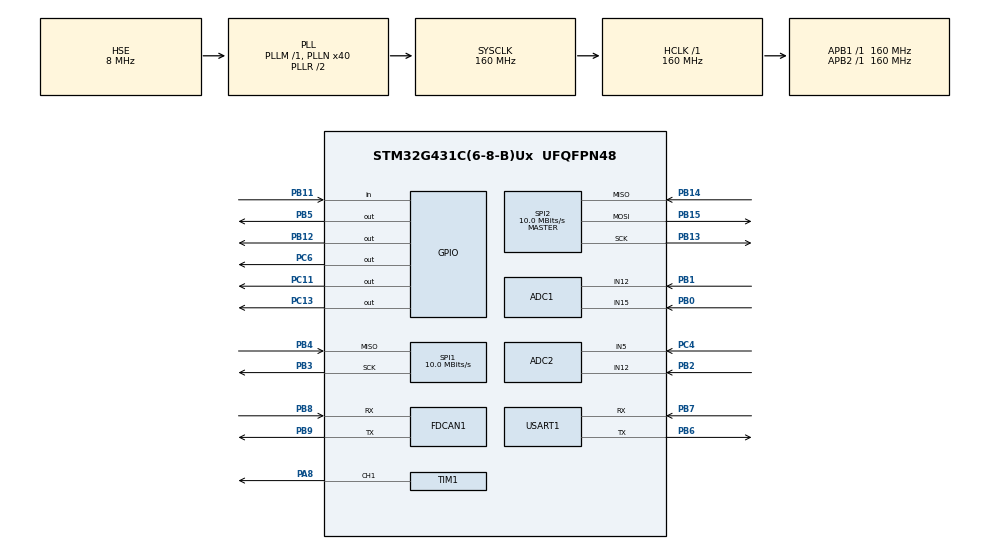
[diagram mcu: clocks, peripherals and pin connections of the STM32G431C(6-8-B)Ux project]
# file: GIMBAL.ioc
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ADC1.Channel-0\#ChannelRegularConversion=ADC_CHANNEL_12
ADC1.Mode=ADC_DUALMODE_REGSIMULT
ADC1.NbrOfConversionFlag=1
ADC1.OffsetNumber-0\#ChannelRegularConversion=ADC_OFFSET_NONE
ADC1.Rank-0\#ChannelRegularConversion=1
ADC1.SamplingTime-0\#ChannelRegularConversion=ADC_SAMPLETIME_3CYCLES_5
ADC1.master=1
ADC2.Channel-0\#ChannelRegularConversion=ADC_CHANNEL_12
ADC2.Mode=ADC_DUALMODE_REGSIMULT
ADC2.NbrOfConversionFlag=1
ADC2.OffsetNumber-0\#ChannelRegularConversion=ADC_OFFSET_NONE
ADC2.Rank-0\#ChannelRegularConversion=1
ADC2.SamplingTime-0\#ChannelRegularConversion=ADC_SAMPLETIME_3CYCLES_5
Mcu.Family=STM32G4
Mcu.Name=STM32G431C(6-8-B)Ux
Mcu.Package=UFQFPN48
NVIC.PriorityGroup=NVIC_PRIORITYGROUP_4
NVIC.TIM1_UP_TIM16_IRQn=true\:1\:0\:true\:false\:true\:true\:true
NVIC.USART1_IRQn=true\:0\:0\:false\:false\:true\:true\:true
PA13.Mode=Serial_Wire
PA13.Signal=SYS_JTMS-SWDIO
PA14.Mode=Serial_Wire
PA14.Signal=SYS_JTCK-SWCLK
PA8.GPIO_PuPd=GPIO_PULLDOWN
PA8.GPIO_Speed=GPIO_SPEED_FREQ_VERY_HIGH
PA8.Signal=S_TIM1_CH1
PB0.Mode=IN15-Single-Ended
PB0.Signal=ADC1_IN15
PB1.Mode=IN12-Single-Ended
PB1.Signal=ADC1_IN12
PB11.GPIO_PuPd=GPIO_PULLUP
PB11.Signal=GPIO_Input
PB12.GPIO_PuPd=GPIO_PULLDOWN
PB12.GPIO_Speed=GPIO_SPEED_FREQ_MEDIUM
PB12.PinState=GPIO_PIN_SET
PB12.Signal=GPIO_Output
PB13.GPIO_PuPd=GPIO_PULLDOWN
PB13.GPIO_Speed=GPIO_SPEED_FREQ_VERY_HIGH
PB13.Mode=Full_Duplex_Master
PB13.Signal=SPI2_SCK
PB14.GPIO_PuPd=GPIO_PULLDOWN
PB14.GPIO_Speed=GPIO_SPEED_FREQ_VERY_HIGH
PB14.Mode=Full_Duplex_Master
PB14.Signal=SPI2_MISO
PB15.GPIO_PuPd=GPIO_PULLDOWN
PB15.GPIO_Speed=GPIO_SPEED_FREQ_VERY_HIGH
PB15.Mode=Full_Duplex_Master
PB15.Signal=SPI2_MOSI
PB2.Mode=IN12-Single-Ended
PB2.Signal=ADC2_IN12
PB3.GPIO_Speed=GPIO_SPEED_FREQ_VERY_HIGH
PB3.Mode=RX_Only_Simplex_Unidirect_Master
PB3.Signal=SPI1_SCK
PB4.GPIO_PuPd=GPIO_PULLUP
PB4.GPIO_Speed=GPIO_SPEED_FREQ_VERY_HIGH
PB4.Mode=RX_Only_Simplex_Unidirect_Master
PB4.Signal=SPI1_MISO
PB5.GPIO_PuPd=GPIO_PULLDOWN
PB5.GPIO_Speed=GPIO_SPEED_FREQ_VERY_HIGH
PB5.Signal=GPIO_Output
PB6.GPIO_PuPd=GPIO_PULLDOWN
PB6.GPIO_Speed=GPIO_SPEED_FREQ_VERY_HIGH
PB6.Mode=Asynchronous
PB6.Signal=USART1_TX
PB7.GPIO_PuPd=GPIO_PULLDOWN
PB7.GPIO_Speed=GPIO_SPEED_FREQ_VERY_HIGH
PB7.Mode=Asynchronous
PB7.Signal=USART1_RX
PB8-BOOT0.GPIO_Speed=GPIO_SPEED_FREQ_VERY_HIGH
PB8-BOOT0.Mode=FDCAN_Activate
PB8-BOOT0.Signal=FDCAN1_RX
PB9.GPIO_Speed=GPIO_SPEED_FREQ_VERY_HIGH
PB9.Mode=FDCAN_Activate
PB9.Signal=FDCAN1_TX
PC11.GPIO_PuPd=GPIO_PULLUP
PC11.GPIO_Speed=GPIO_SPEED_FREQ_VERY_HIGH
PC11.PinState=GPIO_PIN_SET
PC11.Signal=GPIO_Output
PC13.GPIO_PuPd=GPIO_PULLUP
PC13.PinState=GPIO_PIN_SET
PC13.Signal=GPIO_Output
PC4.Mode=IN5-Single-Ended
PC4.Signal=ADC2_IN5
PC6.GPIO_PuPd=GPIO_PULLUP
PC6.GPIO_Speed=GPIO_SPEED_FREQ_VERY_HIGH
PC6.PinState=GPIO_PIN_SET
PC6.Signal=GPIO_Output
PF0-OSC_IN.Mode=HSE-External-Oscillator
PF0-OSC_IN.Signal=RCC_OSC_IN
PF1-OSC_OUT.Mode=HSE-External-Oscillator
PF1-OSC_OUT.Signal=RCC_OSC_OUT
ProjectManager.HeapSize=0x200
ProjectManager.StackSize=0x400
ProjectManager.TargetToolchain=MDK-ARM V5.32
RCC.ADC12Freq_Value=160000000
RCC.AHBFreq_Value=160000000
RCC.APB1Freq_Value=160000000
RCC.APB1TimFreq_Value=160000000
RCC.APB2Freq_Value=160000000
RCC.APB2TimFreq_Value=160000000
RCC.CortexFreq_Value=160000000
RCC.EXTERNAL_CLOCK_VALUE=12288000
RCC.HCLKFreq_Value=160000000
RCC.HSE_VALUE=8000000
RCC.HSI48_VALUE=48000000
RCC.HSI_VALUE=16000000
RCC.LSE_VALUE=32768
RCC.PLLN=40
RCC.PLLSourceVirtual=RCC_PLLSOURCE_HSE
RCC.SYSCLKFreq_VALUE=160000000
RCC.SYSCLKSource=RCC_SYSCLKSOURCE_PLLCLK
RCC.USBFreq_Value=160000000
RCC.VCOOutputFreq_Value=320000000
SH.S_TIM1_CH1.0=TIM1_CH1,PWM Generation1 CH1
SPI1.BaudRatePrescaler=SPI_BAUDRATEPRESCALER_16
SPI1.CLKPhase=SPI_PHASE_2EDGE
SPI1.CalculateBaudRate=10.0 MBits/s
SPI1.DataSize=SPI_DATASIZE_8BIT
SPI1.Direction=SPI_DIRECTION_2LINES_RXONLY
SPI1.Mode=SPI_MODE_MASTER
SPI1.VirtualType=VM_MASTER
SPI2.BaudRatePrescaler=SPI_BAUDRATEPRESCALER_16
SPI2.CLKPhase=SPI_PHASE_2EDGE
SPI2.CalculateBaudRate=10.0 MBits/s
SPI2.DataSize=SPI_DATASIZE_8BIT
SPI2.Direction=SPI_DIRECTION_2LINES
SPI2.Mode=SPI_MODE_MASTER
SPI2.VirtualType=VM_MASTER
TIM1.BreakState=TIM_BREAK_DISABLE
TIM1.Channel-PWM\ Generation1\ CH1=TIM_CHANNEL_1
TIM1.OC1Preload_PWM=DISABLE
TIM1.OCFastMode_PWM-PWM\ Generation1\ CH1=TIM_OCFAST_ENABLE
TIM1.PeriodNoDither=10000-1
TIM1.PulseNoDither_1=5000-1
TIM1.RepetitionCounter=1
USART1.VirtualMode-Asynchronous=VM_ASYNC
VP_SYS_VS_DBSignals.Mode=DisableDeadBatterySignals
VP_TIM1_VS_ClockSourceINT.Mode=Internal
board=custom

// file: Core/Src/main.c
/* USER CODE BEGIN Header */
/**
  ******************************************************************************
  * @file           : main.c
  * @brief          : Main program body
  ******************************************************************************
  * @attention
  *
  * Copyright (c) 2024 STMicroelectronics.
  * All rights reserved.
  *
  * This software is licensed under terms that can be found in the LICENSE file
  * in the root directory of this software component.
  * If no LICENSE file comes with this software, it is provided AS-IS.
  *
  ******************************************************************************
  */
/* USER CODE END Header */
#include "main.h"

/* USER CODE BEGIN PTD */
MT6701_sensor MT6701;
Motor_struct	BLDC;
SerialMessage Serial_mgs;

uint16_t cmd = 0x0;
uint8_t addr = 0x0;
uint16_t w_data = 0x0;
uint16_t r_data = 0x0;
uint8_t flag = 0;

/* USER CODE END PTD */

ADC_HandleTypeDef hadc1;
ADC_HandleTypeDef hadc2;

FDCAN_HandleTypeDef hfdcan1;

SPI_HandleTypeDef hspi1;
SPI_HandleTypeDef hspi2;

TIM_HandleTypeDef htim1;

UART_HandleTypeDef huart1;

/* USER CODE BEGIN PV */
uint64_t tim1_cnt_it = 0, tim2_cnt_it = 0;
uint8_t error_code = 0;
uint32_t systick_cnt = 0;
uint8_t stop=0, error_mag=0, error_mag_cnt=0;
/* USER CODE END PV */

void SystemClock_Config(void);
static void MX_GPIO_Init(void);
static void MX_ADC1_Init(void);
static void MX_ADC2_Init(void);
static void MX_FDCAN1_Init(void);
static void MX_SPI1_Init(void);
static void MX_SPI2_Init(void);
static void MX_TIM1_Init(void);
static void MX_USART1_UART_Init(void);

/* USER CODE BEGIN 0 */
FDCAN_TxHeaderTypeDef   TxHeader;
FDCAN_RxHeaderTypeDef   RxHeader;

uint8_t               TxData[20] = {0XF0, 0xF1, 0XF2, 0XF3, 0XF4, 0XF5, 0XF6, 0XF7, 0XF8, 0XF9, 0XAA, 0XBB, 0XCC, 0XDD, 0XEE, 0XFF, 0XAF, 0XFA, 0X11, 0X22};
uint8_t               RxData[20];

st_drv8311p_t drv8311p_reg_data = {};

uint8_t BLDC_get_phase_order(st_drv8311p_t* p_drv8311p_address, st_drv8311p_t* p_drv8311p_reg_data, Motor_struct *MOTOR, MT6701_sensor * encoder, float calib_voltage)
{
	uint8_t swap_phase_order = 0;
		    // find natural direction (this is copy of the init code)
    // move one electrical revolution forward
    for (int i = 0; i <=500; i++ ) {
      float angle = 0 + _2PI * i / 500.0f;
      setPhaseVoltage(0, calib_voltage,  angle, MOTOR);
			DRV8311P_update_Phase_Voltage(p_drv8311p_address, p_drv8311p_reg_data, BLDC.dtc_u, BLDC.dtc_v, BLDC.dtc_w, 0);
			MT6701_read_data(encoder);
      HAL_Delay(2);
    }
    // take and angle in the middle
		MT6701_read_data(encoder);
    float mid_angle = encoder->raw_angle;
    // move one electrical revolution backwards
    for (int i = 500; i >=0; i-- ) {
      float angle = 0 + _2PI * i / 500.0f ;
      setPhaseVoltage(0, calib_voltage,  angle, MOTOR);
			DRV8311P_update_Phase_Voltage(p_drv8311p_address, p_drv8311p_reg_data, BLDC.dtc_u, BLDC.dtc_v, BLDC.dtc_w, 0);
			MT6701_read_data(encoder);
      HAL_Delay(2);
    }

		MT6701_read_data(encoder);
    float end_angle = encoder->raw_angle;
    setPhaseVoltage(0, 0,  0, MOTOR);
		DRV8311P_update_Phase_Voltage(p_drv8311p_address, p_drv8311p_reg_data, BLDC.dtc_u, BLDC.dtc_v, BLDC.dtc_w, 0);
    HAL_Delay(200);
    // determine the direction the sensor moved
    int directionSensor;
    if (mid_angle < end_angle) {
//      Serial.println("MOT: sensor_direction==CW");
      directionSensor = -1;
    }
		else{
//      Serial.println("MOT: sensor_direction==CCW");
      directionSensor = 1;
    }
		swap_phase_order = directionSensor>0?0:1;
		MOTOR->phase_order = swap_phase_order;
	return swap_phase_order;
}

void HAL_FDCAN_RxFifo0Callback(FDCAN_HandleTypeDef *hfdcan, uint32_t RxFifo0ITs)
{
  if((RxFifo0ITs & FDCAN_IT_RX_FIFO0_NEW_MESSAGE) != RESET)
  {
    /* Retreive Rx messages from RX FIFO0 */
    if (HAL_FDCAN_GetRxMessage(hfdcan, FDCAN_RX_FIFO0, &RxHeader, RxData) != HAL_OK)
    {
    /* Reception Error */
    Error_Handler();
    }
    if (HAL_FDCAN_ActivateNotification(hfdcan, FDCAN_IT_RX_FIFO0_NEW_MESSAGE, 0) != HAL_OK)
    {
      /* Notification Error */
      Error_Handler();
    }
  }
}

uint16_t ADC1_buffer[3]={0,0,0};
uint32_t ADC1_offset_buffer[3]={0,0,0};
size_t tmp = sizeof(st_drv8311p_t)/sizeof(uint16_t);

void Uart_Put_UintNumber(UART_HandleTypeDef* huart, int32_t x, uint8_t EOL_flag)
{
  char value[10]; //a temp array to hold results of conversion
	char value2[10];
	uint8_t sign_x = x>0?1:-1;
	x = abs(x);
  int i = 0; //loop index

  do
  {
    value[i++] = (char)(x % 10) + '0'; //convert integer to character
    x /= 10;
  } while(x>0);
	value[i] = sign_x==1?' ':'-';
	if(EOL_flag)
	{
		i+=1;
		value[i] = '\n';
	}
  for(int c = 0; c < i+1; c++)
	{
		value2[c] = value[i-c];
	}
	HAL_UART_Transmit(huart, (uint8_t*) value2, i+1,100);
}

//char value[10]; //a temp array to hold results of conversion
//char value2[10];
void Uart_Put_FloatNumber(UART_HandleTypeDef* huart, float y)
{
	int a = (int)y;
	float b = fabs( y - a);

	Uart_Put_UintNumber(huart, a, 0);
	char value[10];
	value[0] = '.';
	int k=0;
	for( k=0; k<7; k++){
		b*=10;
		if((int)(b)<=0)
		{
			value[k+1] = '0';
		}
		else
		{
			value[k+1] = (char) ((int)b%10) + '0';
		}
	}
	value[k+1] = '\n';
	HAL_UART_Transmit(huart, (uint8_t*) value, k+2, 100);

}
//typedef struct
//{
//	char ia_char[2];
//	float ia;
//	char ib_char[2];
//	float ib;
//	char ic_char[2];
//	float ic;
//} Serial_current_package_t;

//Serial_current_package_t Serial_current_package = {"ia", 0, "ib", 0, "ic", 0};
void ADC2_select_CH5()
{
	ADC_ChannelConfTypeDef sConfig = {0};
	  /** Configure Regular Channel
  */
    sConfig.Channel = ADC_CHANNEL_5;
  sConfig.Rank = ADC_REGULAR_RANK_1;
  sConfig.SamplingTime = ADC_SAMPLETIME_3CYCLES_5;
  sConfig.SingleDiff = ADC_SINGLE_ENDED;
  sConfig.OffsetNumber = ADC_OFFSET_NONE;
  sConfig.Offset = 0;
  if (HAL_ADC_ConfigChannel(&hadc2, &sConfig) != HAL_OK)
  {
    Error_Handler();
  }
}

void ADC2_select_CH12()
{
	ADC_ChannelConfTypeDef sConfig = {0};
	  /** Configure Regular Channel
  */
    sConfig.Channel = ADC_CHANNEL_12;
  sConfig.Rank = ADC_REGULAR_RANK_1;
  sConfig.SamplingTime = ADC_SAMPLETIME_3CYCLES_5;
  sConfig.SingleDiff = ADC_SINGLE_ENDED;
  sConfig.OffsetNumber = ADC_OFFSET_NONE;
  sConfig.Offset = 0;
  if (HAL_ADC_ConfigChannel(&hadc2, &sConfig) != HAL_OK)
  {
    Error_Handler();
  }
}
uint16_t ADC_vbus_raw = 0;
void	Vbus_Sampling(float* p_vbus, uint16_t* p_Vbus_raw, float Vbus_gain )
{
	/*Switch to ADC channel connecting with Vbus source*/
	ADC2_select_CH5();

//	HAL_ADC_Start(&hadc1);
//	HAL_ADC_Start(&hadc2);
//	HAL_ADC_PollForConversion(&hadc2, 100);
		HAL_ADC_Start(&hadc1);
		HAL_ADC_PollForConversion(&hadc1, HAL_MAX_DELAY);
	HAL_ADC_PollForConversion(&hadc2, HAL_MAX_DELAY);

		 ADC_vbus_raw = HAL_ADC_GetValue(&hadc2);
//	ADC_vbus_raw = HAL_ADC_GetValue(&hadc2);
	*p_Vbus_raw = ADC_vbus_raw;
	*p_vbus = ADC_vbus_raw*Vbus_gain;

	/*Switch back to ADC channel connecting with Phase current source*/
	ADC2_select_CH12();
}

/* USER CODE END 0 */

int main(void)
{

  /* MCU Configuration--------------------------------------------------------*/

  /* Reset of all peripherals, Initializes the Flash interface and the Systick. */
  HAL_Init();

  /* Configure the system clock */
  SystemClock_Config();

  /* Initialize all configured peripherals */
  MX_GPIO_Init();
  MX_ADC1_Init();
  MX_ADC2_Init();
  MX_FDCAN1_Init();
  MX_SPI1_Init();
  MX_SPI2_Init();
  MX_TIM1_Init();
  MX_USART1_UART_Init();
  /* USER CODE BEGIN 2 */

	cmd = 0x0;
	addr = 0x0;
	w_data = 0x0;
	r_data = 0x0;
	flag = 0;

	TxHeader.Identifier = 0x3;
  TxHeader.IdType = FDCAN_STANDARD_ID;
  TxHeader.TxFrameType = FDCAN_DATA_FRAME;
  TxHeader.DataLength = FDCAN_DLC_BYTES_20;
  TxHeader.ErrorStateIndicator = FDCAN_ESI_PASSIVE;
  TxHeader.BitRateSwitch = FDCAN_BRS_OFF;
  TxHeader.FDFormat = FDCAN_FD_CAN;
  TxHeader.TxEventFifoControl = FDCAN_NO_TX_EVENTS;
  TxHeader.MessageMarker = 0;
	if(HAL_FDCAN_Start(&hfdcan1)!= HAL_OK)
  {
	  Error_Handler();
  }
  if (HAL_FDCAN_ActivateNotification(&hfdcan1, FDCAN_IT_RX_FIFO0_NEW_MESSAGE, 0) != HAL_OK)
  {
    /* Notification Error */
    Error_Handler();
  }

	Uart_Put_FloatNumber(&huart1, -0.009152);

	BLDC_param_init(&BLDC,12.0, 5, 0.25, 1, 7.8f , 330, 1);
	BLDC.v_calib = 2.0f;

	BLDC.ki_d = 0.4612;
	BLDC.ki_q = BLDC.ki_d;
	BLDC.k_d = 1.2863;
	BLDC.k_q = BLDC.k_d;

	BLDC.kd = 0.001f;
	BLDC.kp = 0.05f;

	DRV8311P_Init(&drv8311p_address, &drv8311p_reg_data);

	MT6701._dt = 1/8000.0f;				// about 8khz

	HAL_ADC_Start(&hadc2);
	HAL_ADC_Start(&hadc1);

	HAL_Delay(400);
	{
			int n_of_sample = 100;
			for(int i =0; i<n_of_sample; i++)
			{

				HAL_ADC_Start(&hadc1);
				HAL_ADC_PollForConversion(&hadc1, HAL_MAX_DELAY);
				HAL_Delay(10);
				ADC1_offset_buffer[1] += HAL_ADC_GetValue(&hadc2);
				ADC1_offset_buffer[2] += HAL_ADC_GetValue(&hadc1);
				HAL_Delay(10);

			}
			ADC1_offset_buffer[1] = ADC1_offset_buffer[1]/n_of_sample;
			ADC1_offset_buffer[2] = ADC1_offset_buffer[2]/n_of_sample;
	}
	HAL_Delay(100);

	position_sensor_warmup(&MT6701, 20);

	MT6701.zero_electric_angle = 4.576249831f;

//	Vbus_Sampling(&BLDC.v_bus,&BLDC.Vbus_raw, BLDC.Vbus_Gain);

	__HAL_TIM_CLEAR_FLAG(&htim1, TIM_FLAG_UPDATE);

	HAL_TIM_Base_Start(&htim1);
//	HAL_TIM_Base_Start(&htim3);

	HAL_TIM_PWM_Start(&htim1, TIM_CHANNEL_1);
	HAL_Delay(200);
//	HAL_TIM_PWM_Start(&htim3, TIM_CHANNEL_2);

	DRV8311P_read_All_reg(&drv8311p_address, &drv8311p_reg_data);

	setPhaseVoltage(0, 0, 0, &BLDC);
	DRV8311P_update_Phase_Voltage(&drv8311p_address, &drv8311p_reg_data, BLDC.dtc_u, BLDC.dtc_v, BLDC.dtc_w, BLDC.phase_order);
	DRV8311P_PWM_GEN(&drv8311p_address , 1);

	DRV8311P_read_All_reg(&drv8311p_address, &drv8311p_reg_data);

	HAL_GPIO_WritePin(GPIOB, GPIO_PIN_5, 0);

	////// call check phase_order
	BLDC_get_phase_order( &drv8311p_address, &drv8311p_reg_data, &BLDC, &MT6701, BLDC.v_calib);
	//////	call get_current_offset after checking phase_order
	get_current_offset(&BLDC, ADC1_offset_buffer[0],  ADC1_offset_buffer[1],  ADC1_offset_buffer[2]);

			setPhaseVoltage(0, 1.5, 0, &BLDC);	// pole alignment with phase A
			DRV8311P_update_Phase_Voltage(&drv8311p_address, &drv8311p_reg_data, BLDC.dtc_u, BLDC.dtc_v, BLDC.dtc_w, 0);

			HAL_Delay(100);
			MT6701_read_data(&MT6701);
			MT6701.zero_electric_angle = _normalizeAngle(MT6701.raw_angle*pole_pairs);

			setPhaseVoltage(0, 0, 0, &BLDC);		// release the motor
			DRV8311P_update_Phase_Voltage(&drv8311p_address, &drv8311p_reg_data, BLDC.dtc_u, BLDC.dtc_v, BLDC.dtc_w, 0);

	MT6701_read_data(&MT6701);
	BLDC.p_des  = MT6701.raw_angle/BLDC.GR;

	htim1.Instance->DIER |=0x0001;		// enable timer1 Interrupt
//	DRV8311P_write_n_read();
  /* USER CODE END 2 */

  /* Infinite loop */
  while (1)
  {

  }
}

void SystemClock_Config(void)
{
  RCC_OscInitTypeDef RCC_OscInitStruct = {0};
  RCC_ClkInitTypeDef RCC_ClkInitStruct = {0};

  /** Configure the main internal regulator output voltage
  */
  HAL_PWREx_ControlVoltageScaling(PWR_REGULATOR_VOLTAGE_SCALE1_BOOST);
  /** Initializes the RCC Oscillators according to the specified parameters
  * in the RCC_OscInitTypeDef structure.
  */
  RCC_OscInitStruct.OscillatorType = RCC_OSCILLATORTYPE_HSE;
  RCC_OscInitStruct.HSEState = RCC_HSE_ON;
  RCC_OscInitStruct.PLL.PLLState = RCC_PLL_ON;
  RCC_OscInitStruct.PLL.PLLSource = RCC_PLLSOURCE_HSE;
  RCC_OscInitStruct.PLL.PLLM = RCC_PLLM_DIV1;
  RCC_OscInitStruct.PLL.PLLN = 40;
  RCC_OscInitStruct.PLL.PLLP = RCC_PLLP_DIV2;
  RCC_OscInitStruct.PLL.PLLQ = RCC_PLLQ_DIV2;
  RCC_OscInitStruct.PLL.PLLR = RCC_PLLR_DIV2;
  if (HAL_RCC_OscConfig(&RCC_OscInitStruct) != HAL_OK)
  {
    Error_Handler();
  }
  /** Initializes the CPU, AHB and APB buses clocks
  */
  RCC_ClkInitStruct.ClockType = RCC_CLOCKTYPE_HCLK|RCC_CLOCKTYPE_SYSCLK
                              |RCC_CLOCKTYPE_PCLK1|RCC_CLOCKTYPE_PCLK2;
  RCC_ClkInitStruct.SYSCLKSource = RCC_SYSCLKSOURCE_PLLCLK;
  RCC_ClkInitStruct.AHBCLKDivider = RCC_SYSCLK_DIV1;
  RCC_ClkInitStruct.APB1CLKDivider = RCC_HCLK_DIV1;
  RCC_ClkInitStruct.APB2CLKDivider = RCC_HCLK_DIV1;

  if (HAL_RCC_ClockConfig(&RCC_ClkInitStruct, FLASH_LATENCY_4) != HAL_OK)
  {
    Error_Handler();
  }
}

static void MX_ADC1_Init(void)
{

  ADC_MultiModeTypeDef multimode = {0};
  ADC_ChannelConfTypeDef sConfig = {0};

  /** Common config
  */
  hadc1.Instance = ADC1;
  hadc1.Init.ClockPrescaler = ADC_CLOCK_SYNC_PCLK_DIV4;
  hadc1.Init.Resolution = ADC_RESOLUTION_12B;
  hadc1.Init.DataAlign = ADC_DATAALIGN_RIGHT;
  hadc1.Init.GainCompensation = 0;
  hadc1.Init.ScanConvMode = ADC_SCAN_DISABLE;
  hadc1.Init.EOCSelection = ADC_EOC_SINGLE_CONV;
  hadc1.Init.LowPowerAutoWait = DISABLE;
  hadc1.Init.ContinuousConvMode = DISABLE;
  hadc1.Init.NbrOfConversion = 1;
  hadc1.Init.DiscontinuousConvMode = DISABLE;
  hadc1.Init.ExternalTrigConv = ADC_SOFTWARE_START;
  hadc1.Init.ExternalTrigConvEdge = ADC_EXTERNALTRIGCONVEDGE_NONE;
  hadc1.Init.DMAContinuousRequests = DISABLE;
  hadc1.Init.Overrun = ADC_OVR_DATA_PRESERVED;
  hadc1.Init.OversamplingMode = DISABLE;
  if (HAL_ADC_Init(&hadc1) != HAL_OK)
  {
    Error_Handler();
  }
  /** Configure the ADC multi-mode
  */
  multimode.Mode = ADC_DUALMODE_REGSIMULT;
  multimode.DMAAccessMode = ADC_DMAACCESSMODE_DISABLED;
  multimode.TwoSamplingDelay = ADC_TWOSAMPLINGDELAY_1CYCLE;
  if (HAL_ADCEx_MultiModeConfigChannel(&hadc1, &multimode) != HAL_OK)
  {
    Error_Handler();
  }
  /** Configure Regular Channel
  */
  sConfig.Channel = ADC_CHANNEL_12;
  sConfig.Rank = ADC_REGULAR_RANK_1;
  sConfig.SamplingTime = ADC_SAMPLETIME_3CYCLES_5;
  sConfig.SingleDiff = ADC_SINGLE_ENDED;
  sConfig.OffsetNumber = ADC_OFFSET_NONE;
  sConfig.Offset = 0;
  if (HAL_ADC_ConfigChannel(&hadc1, &sConfig) != HAL_OK)
  {
    Error_Handler();
  }

}

static void MX_ADC2_Init(void)
{

  ADC_ChannelConfTypeDef sConfig = {0};

  /** Common config
  */
  hadc2.Instance = ADC2;
  hadc2.Init.ClockPrescaler = ADC_CLOCK_SYNC_PCLK_DIV4;
  hadc2.Init.Resolution = ADC_RESOLUTION_12B;
  hadc2.Init.DataAlign = ADC_DATAALIGN_RIGHT;
  hadc2.Init.GainCompensation = 0;
  hadc2.Init.ScanConvMode = ADC_SCAN_DISABLE;
  hadc2.Init.EOCSelection = ADC_EOC_SINGLE_CONV;
  hadc2.Init.LowPowerAutoWait = DISABLE;
  hadc2.Init.ContinuousConvMode = DISABLE;
  hadc2.Init.NbrOfConversion = 1;
  hadc2.Init.DiscontinuousConvMode = DISABLE;
  hadc2.Init.DMAContinuousRequests = DISABLE;
  hadc2.Init.Overrun = ADC_OVR_DATA_PRESERVED;
  hadc2.Init.OversamplingMode = DISABLE;
  if (HAL_ADC_Init(&hadc2) != HAL_OK)
  {
    Error_Handler();
  }
  /** Configure Regular Channel
  */
  sConfig.Channel = ADC_CHANNEL_12;
  sConfig.Rank = ADC_REGULAR_RANK_1;
  sConfig.SamplingTime = ADC_SAMPLETIME_3CYCLES_5;
  sConfig.SingleDiff = ADC_SINGLE_ENDED;
  sConfig.OffsetNumber = ADC_OFFSET_NONE;
  sConfig.Offset = 0;
  if (HAL_ADC_ConfigChannel(&hadc2, &sConfig) != HAL_OK)
  {
    Error_Handler();
  }

}

static void MX_FDCAN1_Init(void)
{

  hfdcan1.Instance = FDCAN1;
  hfdcan1.Init.ClockDivider = FDCAN_CLOCK_DIV1;
  hfdcan1.Init.FrameFormat = FDCAN_FRAME_CLASSIC;
  hfdcan1.Init.Mode = FDCAN_MODE_NORMAL;
  hfdcan1.Init.AutoRetransmission = DISABLE;
  hfdcan1.Init.TransmitPause = DISABLE;
  hfdcan1.Init.ProtocolException = DISABLE;
  hfdcan1.Init.NominalPrescaler = 1;
  hfdcan1.Init.NominalSyncJumpWidth = 1;
  hfdcan1.Init.NominalTimeSeg1 = 2;
  hfdcan1.Init.NominalTimeSeg2 = 2;
  hfdcan1.Init.DataPrescaler = 1;
  hfdcan1.Init.DataSyncJumpWidth = 1;
  hfdcan1.Init.DataTimeSeg1 = 1;
  hfdcan1.Init.DataTimeSeg2 = 1;
  hfdcan1.Init.StdFiltersNbr = 0;
  hfdcan1.Init.ExtFiltersNbr = 0;
  hfdcan1.Init.TxFifoQueueMode = FDCAN_TX_FIFO_OPERATION;
  if (HAL_FDCAN_Init(&hfdcan1) != HAL_OK)
  {
    Error_Handler();
  }

}

static void MX_SPI1_Init(void)
{

  /* SPI1 parameter configuration*/
  hspi1.Instance = SPI1;
  hspi1.Init.Mode = SPI_MODE_MASTER;
  hspi1.Init.Direction = SPI_DIRECTION_2LINES_RXONLY;
  hspi1.Init.DataSize = SPI_DATASIZE_8BIT;
  hspi1.Init.CLKPolarity = SPI_POLARITY_LOW;
  hspi1.Init.CLKPhase = SPI_PHASE_2EDGE;
  hspi1.Init.NSS = SPI_NSS_SOFT;
  hspi1.Init.BaudRatePrescaler = SPI_BAUDRATEPRESCALER_16;
  hspi1.Init.FirstBit = SPI_FIRSTBIT_MSB;
  hspi1.Init.TIMode = SPI_TIMODE_DISABLE;
  hspi1.Init.CRCCalculation = SPI_CRCCALCULATION_DISABLE;
  hspi1.Init.CRCPolynomial = 7;
  hspi1.Init.CRCLength = SPI_CRC_LENGTH_DATASIZE;
  hspi1.Init.NSSPMode = SPI_NSS_PULSE_DISABLE;
  if (HAL_SPI_Init(&hspi1) != HAL_OK)
  {
    Error_Handler();
  }

}

static void MX_SPI2_Init(void)
{

  /* SPI2 parameter configuration*/
  hspi2.Instance = SPI2;
  hspi2.Init.Mode = SPI_MODE_MASTER;
  hspi2.Init.Direction = SPI_DIRECTION_2LINES;
  hspi2.Init.DataSize = SPI_DATASIZE_8BIT;
  hspi2.Init.CLKPolarity = SPI_POLARITY_LOW;
  hspi2.Init.CLKPhase = SPI_PHASE_2EDGE;
  hspi2.Init.NSS = SPI_NSS_SOFT;
  hspi2.Init.BaudRatePrescaler = SPI_BAUDRATEPRESCALER_16;
  hspi2.Init.FirstBit = SPI_FIRSTBIT_MSB;
  hspi2.Init.TIMode = SPI_TIMODE_DISABLE;
  hspi2.Init.CRCCalculation = SPI_CRCCALCULATION_DISABLE;
  hspi2.Init.CRCPolynomial = 7;
  hspi2.Init.CRCLength = SPI_CRC_LENGTH_DATASIZE;
  hspi2.Init.NSSPMode = SPI_NSS_PULSE_DISABLE;
  if (HAL_SPI_Init(&hspi2) != HAL_OK)
  {
    Error_Handler();
  }

}

static void MX_TIM1_Init(void)
{

  TIM_ClockConfigTypeDef sClockSourceConfig = {0};
  TIM_MasterConfigTypeDef sMasterConfig = {0};
  TIM_OC_InitTypeDef sConfigOC = {0};
  TIM_BreakDeadTimeConfigTypeDef sBreakDeadTimeConfig = {0};

  htim1.Instance = TIM1;
  htim1.Init.Prescaler = 0;
  htim1.Init.CounterMode = TIM_COUNTERMODE_UP;
  htim1.Init.Period = 9999;
  htim1.Init.ClockDivision = TIM_CLOCKDIVISION_DIV1;
  htim1.Init.RepetitionCounter = 1;
  htim1.Init.AutoReloadPreload = TIM_AUTORELOAD_PRELOAD_DISABLE;
  if (HAL_TIM_Base_Init(&htim1) != HAL_OK)
  {
    Error_Handler();
  }
  sClockSourceConfig.ClockSource = TIM_CLOCKSOURCE_INTERNAL;
  if (HAL_TIM_ConfigClockSource(&htim1, &sClockSourceConfig) != HAL_OK)
  {
    Error_Handler();
  }
  if (HAL_TIM_PWM_Init(&htim1) != HAL_OK)
  {
    Error_Handler();
  }
  sMasterConfig.MasterOutputTrigger = TIM_TRGO_RESET;
  sMasterConfig.MasterOutputTrigger2 = TIM_TRGO2_RESET;
  sMasterConfig.MasterSlaveMode = TIM_MASTERSLAVEMODE_DISABLE;
  if (HAL_TIMEx_MasterConfigSynchronization(&htim1, &sMasterConfig) != HAL_OK)
  {
    Error_Handler();
  }
  sConfigOC.OCMode = TIM_OCMODE_PWM1;
  sConfigOC.Pulse = 4999;
  sConfigOC.OCPolarity = TIM_OCPOLARITY_HIGH;
  sConfigOC.OCNPolarity = TIM_OCNPOLARITY_HIGH;
  sConfigOC.OCFastMode = TIM_OCFAST_ENABLE;
  sConfigOC.OCIdleState = TIM_OCIDLESTATE_RESET;
  sConfigOC.OCNIdleState = TIM_OCNIDLESTATE_RESET;
  if (HAL_TIM_PWM_ConfigChannel(&htim1, &sConfigOC, TIM_CHANNEL_1) != HAL_OK)
  {
    Error_Handler();
  }
  __HAL_TIM_DISABLE_OCxPRELOAD(&htim1, TIM_CHANNEL_1);
  sBreakDeadTimeConfig.OffStateRunMode = TIM_OSSR_DISABLE;
  sBreakDeadTimeConfig.OffStateIDLEMode = TIM_OSSI_DISABLE;
  sBreakDeadTimeConfig.LockLevel = TIM_LOCKLEVEL_OFF;
  sBreakDeadTimeConfig.DeadTime = 0;
  sBreakDeadTimeConfig.BreakState = TIM_BREAK_DISABLE;
  sBreakDeadTimeConfig.BreakPolarity = TIM_BREAKPOLARITY_HIGH;
  sBreakDeadTimeConfig.BreakFilter = 0;
  sBreakDeadTimeConfig.BreakAFMode = TIM_BREAK_AFMODE_INPUT;
  sBreakDeadTimeConfig.Break2State = TIM_BREAK2_DISABLE;
  sBreakDeadTimeConfig.Break2Polarity = TIM_BREAK2POLARITY_HIGH;
  sBreakDeadTimeConfig.Break2Filter = 0;
  sBreakDeadTimeConfig.Break2AFMode = TIM_BREAK_AFMODE_INPUT;
  sBreakDeadTimeConfig.AutomaticOutput = TIM_AUTOMATICOUTPUT_DISABLE;
  if (HAL_TIMEx_ConfigBreakDeadTime(&htim1, &sBreakDeadTimeConfig) != HAL_OK)
  {
    Error_Handler();
  }
  HAL_TIM_MspPostInit(&htim1);

}

static void MX_USART1_UART_Init(void)
{

  huart1.Instance = USART1;
  huart1.Init.BaudRate = 115200;
  huart1.Init.WordLength = UART_WORDLENGTH_8B;
  huart1.Init.StopBits = UART_STOPBITS_1;
  huart1.Init.Parity = UART_PARITY_NONE;
  huart1.Init.Mode = UART_MODE_TX_RX;
  huart1.Init.HwFlowCtl = UART_HWCONTROL_NONE;
  huart1.Init.OverSampling = UART_OVERSAMPLING_16;
  huart1.Init.OneBitSampling = UART_ONE_BIT_SAMPLE_DISABLE;
  huart1.Init.ClockPrescaler = UART_PRESCALER_DIV1;
  huart1.AdvancedInit.AdvFeatureInit = UART_ADVFEATURE_NO_INIT;
  if (HAL_UART_Init(&huart1) != HAL_OK)
  {
    Error_Handler();
  }
  if (HAL_UARTEx_SetTxFifoThreshold(&huart1, UART_TXFIFO_THRESHOLD_1_8) != HAL_OK)
  {
    Error_Handler();
  }
  if (HAL_UARTEx_SetRxFifoThreshold(&huart1, UART_RXFIFO_THRESHOLD_1_8) != HAL_OK)
  {
    Error_Handler();
  }
  if (HAL_UARTEx_DisableFifoMode(&huart1) != HAL_OK)
  {
    Error_Handler();
  }

}

static void MX_GPIO_Init(void)
{
  GPIO_InitTypeDef GPIO_InitStruct = {0};

  /* GPIO Ports Clock Enable */
  __HAL_RCC_GPIOC_CLK_ENABLE();
  __HAL_RCC_GPIOF_CLK_ENABLE();
  __HAL_RCC_GPIOG_CLK_ENABLE();
  __HAL_RCC_GPIOA_CLK_ENABLE();
  __HAL_RCC_GPIOB_CLK_ENABLE();

  /*Configure GPIO pin Output Level */
  HAL_GPIO_WritePin(GPIOC, GPIO_PIN_13|GPIO_PIN_6|GPIO_PIN_11, GPIO_PIN_SET);

  /*Configure GPIO pin Output Level */
  HAL_GPIO_WritePin(GPIOB, GPIO_PIN_12, GPIO_PIN_SET);

  /*Configure GPIO pin Output Level */
  HAL_GPIO_WritePin(GPIOB, GPIO_PIN_5, GPIO_PIN_RESET);

  /*Configure GPIO pin : PC13 */
  GPIO_InitStruct.Pin = GPIO_PIN_13;
  GPIO_InitStruct.Mode = GPIO_MODE_OUTPUT_PP;
  GPIO_InitStruct.Pull = GPIO_PULLUP;
  GPIO_InitStruct.Speed = GPIO_SPEED_FREQ_LOW;
  HAL_GPIO_Init(GPIOC, &GPIO_InitStruct);

  /*Configure GPIO pins : PC14 PC15 PC10 */
  GPIO_InitStruct.Pin = GPIO_PIN_14|GPIO_PIN_15|GPIO_PIN_10;
  GPIO_InitStruct.Mode = GPIO_MODE_ANALOG;
  GPIO_InitStruct.Pull = GPIO_NOPULL;
  HAL_GPIO_Init(GPIOC, &GPIO_InitStruct);

  /*Configure GPIO pin : PG10 */
  GPIO_InitStruct.Pin = GPIO_PIN_10;
  GPIO_InitStruct.Mode = GPIO_MODE_ANALOG;
  GPIO_InitStruct.Pull = GPIO_NOPULL;
  HAL_GPIO_Init(GPIOG, &GPIO_InitStruct);

  /*Configure GPIO pins : PA0 PA1 PA2 PA3
                           PA4 PA5 PA6 PA7
                           PA9 PA10 PA11 PA12
                           PA15 */
  GPIO_InitStruct.Pin = GPIO_PIN_0|GPIO_PIN_1|GPIO_PIN_2|GPIO_PIN_3
                          |GPIO_PIN_4|GPIO_PIN_5|GPIO_PIN_6|GPIO_PIN_7
                          |GPIO_PIN_9|GPIO_PIN_10|GPIO_PIN_11|GPIO_PIN_12
                          |GPIO_PIN_15;
  GPIO_InitStruct.Mode = GPIO_MODE_ANALOG;
  GPIO_InitStruct.Pull = GPIO_NOPULL;
  HAL_GPIO_Init(GPIOA, &GPIO_InitStruct);

  /*Configure GPIO pin : PB10 */
  GPIO_InitStruct.Pin = GPIO_PIN_10;
  GPIO_InitStruct.Mode = GPIO_MODE_ANALOG;
  GPIO_InitStruct.Pull = GPIO_NOPULL;
  HAL_GPIO_Init(GPIOB, &GPIO_InitStruct);

  /*Configure GPIO pin : PB11 */
  GPIO_InitStruct.Pin = GPIO_PIN_11;
  GPIO_InitStruct.Mode = GPIO_MODE_INPUT;
  GPIO_InitStruct.Pull = GPIO_PULLUP;
  HAL_GPIO_Init(GPIOB, &GPIO_InitStruct);

  /*Configure GPIO pin : PB12 */
  GPIO_InitStruct.Pin = GPIO_PIN_12;
  GPIO_InitStruct.Mode = GPIO_MODE_OUTPUT_PP;
  GPIO_InitStruct.Pull = GPIO_PULLDOWN;
  GPIO_InitStruct.Speed = GPIO_SPEED_FREQ_MEDIUM;
  HAL_GPIO_Init(GPIOB, &GPIO_InitStruct);

  /*Configure GPIO pins : PC6 PC11 */
  GPIO_InitStruct.Pin = GPIO_PIN_6|GPIO_PIN_11;
  GPIO_InitStruct.Mode = GPIO_MODE_OUTPUT_PP;
  GPIO_InitStruct.Pull = GPIO_PULLUP;
  GPIO_InitStruct.Speed = GPIO_SPEED_FREQ_VERY_HIGH;
  HAL_GPIO_Init(GPIOC, &GPIO_InitStruct);

  /*Configure GPIO pin : PB5 */
  GPIO_InitStruct.Pin = GPIO_PIN_5;
  GPIO_InitStruct.Mode = GPIO_MODE_OUTPUT_PP;
  GPIO_InitStruct.Pull = GPIO_PULLDOWN;
  GPIO_InitStruct.Speed = GPIO_SPEED_FREQ_VERY_HIGH;
  HAL_GPIO_Init(GPIOB, &GPIO_InitStruct);

}

void Error_Handler(void)
{
  __disable_irq();
  while (1)
  {
  }
}
